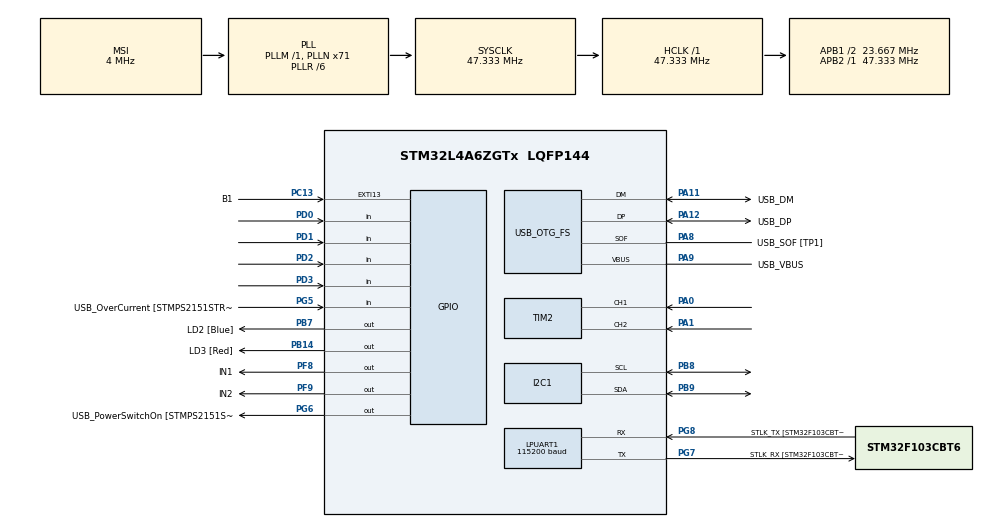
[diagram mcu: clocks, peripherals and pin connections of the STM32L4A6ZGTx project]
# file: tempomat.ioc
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I2C1.Timing=0x00805B85
LPUART1.AutoBaudRateEnableParam=UART_ADVFEATURE_AUTOBAUDRATE_DISABLE
LPUART1.BaudRate=115200
LPUART1.DMADisableonRxErrorParam=UART_ADVFEATURE_DMA_ENABLEONRXERROR
LPUART1.DataInvertParam=UART_ADVFEATURE_DATAINV_DISABLE
LPUART1.MSBFirstParam=UART_ADVFEATURE_MSBFIRST_DISABLE
LPUART1.Mode=UART_MODE_TX_RX
LPUART1.OneBitSampling=UART_ONE_BIT_SAMPLE_DISABLE
LPUART1.OverrunDisableParam=UART_ADVFEATURE_OVERRUN_ENABLE
LPUART1.Parity=UART_PARITY_NONE
LPUART1.RxPinLevelInvertParam=UART_ADVFEATURE_RXINV_DISABLE
LPUART1.StopBits=UART_STOPBITS_1
LPUART1.SwapParam=UART_ADVFEATURE_SWAP_DISABLE
LPUART1.TxPinLevelInvertParam=UART_ADVFEATURE_TXINV_DISABLE
LPUART1.WordLength=UART_WORDLENGTH_8B
Mcu.Family=STM32L4
Mcu.Name=STM32L4A6ZGTx
Mcu.Package=LQFP144
NVIC.LPUART1_IRQn=true\:0\:0\:false\:false\:true\:true\:true\:true
NVIC.PriorityGroup=NVIC_PRIORITYGROUP_4
NVIC.TIM6_DAC_IRQn=true\:0\:0\:false\:false\:true\:true\:true\:true
PA0.Signal=S_TIM2_CH1
PA1.Signal=S_TIM2_CH2
PA10.GPIO_Label=USB_ID
PA10.Signal=USB_OTG_FS_ID
PA11.GPIO_Label=USB_DM
PA11.Mode=Device_Only
PA11.Signal=USB_OTG_FS_DM
PA12.GPIO_Label=USB_DP
PA12.Mode=Device_Only
PA12.Signal=USB_OTG_FS_DP
PA13\ (JTMS/SWDIO).GPIO_Label=TMS
PA13\ (JTMS/SWDIO).Mode=Trace_Asynchronous_SW
PA13\ (JTMS/SWDIO).Signal=SYS_JTMS-SWDIO
PA14\ (JTCK/SWCLK).GPIO_Label=TCK
PA14\ (JTCK/SWCLK).Mode=Trace_Asynchronous_SW
PA14\ (JTCK/SWCLK).Signal=SYS_JTCK-SWCLK
PA8.GPIO_Label=USB_SOF [TP1]
PA8.Mode=Activate_SOF_FS
PA8.Signal=USB_OTG_FS_SOF
PA9.GPIO_Label=USB_VBUS
PA9.Mode=Activate_VBUS
PA9.Signal=USB_OTG_FS_VBUS
PB14.GPIO_Label=LD3 [Red]
PB14.Signal=GPIO_Output
PB3\ (JTDO/TRACESWO).GPIO_Label=SWO
PB3\ (JTDO/TRACESWO).Mode=Trace_Asynchronous_SW
PB3\ (JTDO/TRACESWO).Signal=SYS_JTDO-SWO
PB7.GPIO_Label=LD2 [Blue]
PB7.Signal=GPIO_Output
PB8.Mode=I2C
PB8.Signal=I2C1_SCL
PB9.Mode=I2C
PB9.Signal=I2C1_SDA
PC13.GPIO_Label=B1
PC13.Signal=GPXTI13
PC14-OSC32_IN\ (PC14).Mode=LSE-External-Oscillator
PC14-OSC32_IN\ (PC14).Signal=RCC_OSC32_IN
PC15-OSC32_OUT\ (PC15).Mode=LSE-External-Oscillator
PC15-OSC32_OUT\ (PC15).Signal=RCC_OSC32_OUT
PD0.GPIO_PuPd=GPIO_PULLDOWN
PD0.Signal=GPIO_Input
PD1.GPIO_PuPd=GPIO_PULLDOWN
PD1.Signal=GPIO_Input
PD2.GPIO_PuPd=GPIO_PULLDOWN
PD2.Signal=GPIO_Input
PD3.GPIO_PuPd=GPIO_PULLDOWN
PD3.Signal=GPIO_Input
PF6.Signal=S_TIM5_CH1
PF7.Signal=S_TIM5_CH2
PF8.GPIO_Label=IN1
PF8.Signal=GPIO_Output
PF9.GPIO_Label=IN2
PF9.Signal=GPIO_Output
PG5.GPIO_Label=USB_OverCurrent [STMPS2151STR_FAULT]
PG5.Signal=GPIO_Input
PG6.GPIO_Label=USB_PowerSwitchOn [STMPS2151STR_EN]
PG6.Signal=GPIO_Output
PG7.GPIO_Label=STLK_RX [STM32F103CBT6_PA3]
PG7.Mode=Asynchronous
PG7.Signal=LPUART1_TX
PG8.GPIO_Label=STLK_TX [STM32F103CBT6_PA2]
PG8.Mode=Asynchronous
PG8.Signal=LPUART1_RX
PH1-OSC_OUT\ (PH1).Signal=RCC_OSC_OUT
ProjectManager.HeapSize=0x200
ProjectManager.StackSize=0x400
ProjectManager.TargetToolchain=STM32CubeIDE
RCC.ADCFreq_Value=48000000
RCC.AHBFreq_Value=47333333.333333336
RCC.APB1CLKDivider=RCC_HCLK_DIV2
RCC.APB1Freq_Value=23666666.666666668
RCC.APB1TimFreq_Value=47333333.333333336
RCC.APB2Freq_Value=47333333.333333336
RCC.APB2TimFreq_Value=47333333.333333336
RCC.CortexFreq_Value=47333333.333333336
RCC.FLatency=FLASH_LATENCY_2
RCC.HCLKFreq_Value=47333333.333333336
RCC.HSE_VALUE=8000000
RCC.HSI48_VALUE=48000000
RCC.HSI_VALUE=16000000
RCC.MSI_VALUE=4000000
RCC.PLLN=71
RCC.PLLR=RCC_PLLR_DIV6
RCC.PLLSAI1N=24
RCC.SYSCLKFreq_VALUE=47333333.333333336
RCC.SYSCLKSource=RCC_SYSCLKSOURCE_PLLCLK
RCC.USBFreq_Value=48000000
RCC.VCOOutputFreq_Value=284000000
SH.S_TIM2_CH1.0=TIM2_CH1,Encoder_Interface
SH.S_TIM2_CH2.0=TIM2_CH2,Encoder_Interface
SH.S_TIM5_CH1.0=TIM5_CH1
SH.S_TIM5_CH2.0=TIM5_CH2
TIM5.Period=2399
TIM5.Prescaler=0
TIM6.Period=19999
TIM6.Prescaler=47
USB_OTG_FS.Sof_enable=ENABLE
USB_OTG_FS.VirtualMode=Device_Only
USB_OTG_FS.battery_charging_enable=ENABLE
USB_OTG_FS.low_power_enable=DISABLE
USB_OTG_FS.lpm_enable=DISABLE
USB_OTG_FS.use_dedicated_ep1=DISABLE
USB_OTG_FS.vbus_sensing_enable=ENABLE
VP_TIM5_VS_ClockSourceINT.Mode=Internal
VP_TIM6_VS_ClockSourceINT.Mode=Enable_Timer
board=NUCLEO-L4A6ZG

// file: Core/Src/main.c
/* USER CODE BEGIN Header */
/**
  ******************************************************************************
  * @file           : main.c
  * @brief          : Main program body
  ******************************************************************************
  * @attention
  *
  * Copyright (c) 2026 STMicroelectronics.
  * All rights reserved.
  *
  * This software is licensed under terms that can be found in the LICENSE file
  * in the root directory of this software component.
  * If no LICENSE file comes with this software, it is provided AS-IS.
  *
  ******************************************************************************
  */
/* USER CODE END Header */
#include "main.h"

/* USER CODE BEGIN Includes */
#include <math.h>
#include <stdio.h>
#include <string.h>
#include <stdlib.h>
#include "i2c-lcd.h"
/* USER CODE END Includes */

/* USER CODE BEGIN PD */
#define ENCODER_RESOLUTION 48.0f
#define SAMPLE_TIME 0.020f
#define V_SUPPLY 12.00f
#define PWM_PERIOD 2399.0f
#define M_PI 3.1415926535f
/* USER CODE END PD */

I2C_HandleTypeDef hi2c1;

UART_HandleTypeDef hlpuart1;

TIM_HandleTypeDef htim2;
TIM_HandleTypeDef htim5;
TIM_HandleTypeDef htim6;

PCD_HandleTypeDef hpcd_USB_OTG_FS;

/* USER CODE BEGIN PV */
int impulsy = 0;
int licznik = 0;
float predk; // current velocity in rad/s
float set_velocity = 5.0f; // Target velocity in rad/s
float filtered_velocity = 0.0f;
float velocity_error = 0.0f;
float kp = 3.13f, ki = 8.01f, kd = 0.001f; // PID constants (Units: V/(rad/s), V/rad, V/(rad/s^2))
float pid_output = 0.0f; // in Volts
float prev_velocity = 0.0f;
int32_t last_counter = 0;
float Integral_error = 0;
char uart_tx_buf[100];
char uart_rx_buf[20];
uint8_t rx_char;
uint8_t rx_idx = 0;
uint8_t telemetry_flag = 0;
uint8_t lcd_flag = 0;
uint8_t control_mode = 0; // 0 = Velocity PID, 1 = Manual Voltage
float manual_voltage = 0.0f;
uint32_t pwm_val;
/* USER CODE END PV */

void SystemClock_Config(void);
static void MX_GPIO_Init(void);
static void MX_LPUART1_UART_Init(void);
static void MX_USB_OTG_FS_PCD_Init(void);
static void MX_TIM2_Init(void);
static void MX_TIM5_Init(void);
static void MX_TIM6_Init(void);
static void MX_I2C1_Init(void);

int main(void)
{

  /* MCU Configuration--------------------------------------------------------*/

  /* Reset of all peripherals, Initializes the Flash interface and the Systick. */
  HAL_Init();

  /* Configure the system clock */
  SystemClock_Config();

  /* Initialize all configured peripherals */
  MX_GPIO_Init();
  MX_LPUART1_UART_Init();
  MX_USB_OTG_FS_PCD_Init();
  MX_TIM2_Init();
  MX_TIM5_Init();
  MX_TIM6_Init();
  MX_I2C1_Init();
  /* USER CODE BEGIN 2 */
  HAL_TIM_Encoder_Start(&htim2, TIM_CHANNEL_ALL);
  HAL_TIM_Base_Start_IT(&htim6);
  HAL_TIM_PWM_Start(&htim5, TIM_CHANNEL_2);
  HAL_UART_Receive_IT(&hlpuart1, &rx_char, 1);
  lcd_init ();
  lcd_send_string ("Inicjalizacja");
  HAL_Delay(100);
  lcd_put_cur(1, 0);
  lcd_send_string("Start");
  HAL_Delay(2000);
  /* USER CODE END 2 */

  /* Infinite loop */
  while (1)
  {

    /* USER CODE BEGIN 3 */
    if (telemetry_flag)
    {
    	int len;
      telemetry_flag = 0;
      if (velocity_error<0)
    	  len = sprintf(uart_tx_buf, "V: % .2f rad/s, E: % .2f rad/s, Out: % .2fV\r\n",
                               predk, velocity_error, pid_output);
      else
    	  len = sprintf(uart_tx_buf, "V: %.2f rad/s, E: +%.2f rad/s, Out: % .2fV\r\n",
    	                                 predk, velocity_error, pid_output);

      HAL_UART_Transmit(&hlpuart1, (uint8_t*)uart_tx_buf, len, 100);
    }

    if (lcd_flag)
    {
      lcd_flag = 0;
      char lcd_buf[17];

      lcd_put_cur(0, 0);
      sprintf(lcd_buf, "V:%.2f rad/s  ", predk);
      lcd_send_string(lcd_buf);

      lcd_put_cur(1, 0);
      sprintf(lcd_buf, "E:%.2f rad/s  ", velocity_error);
      lcd_send_string(lcd_buf);
    }
  }
  /* USER CODE END 3 */
}

void SystemClock_Config(void)
{
  RCC_OscInitTypeDef RCC_OscInitStruct = {0};
  RCC_ClkInitTypeDef RCC_ClkInitStruct = {0};

  /** Configure the main internal regulator output voltage
  */
  if (HAL_PWREx_ControlVoltageScaling(PWR_REGULATOR_VOLTAGE_SCALE1) != HAL_OK)
  {
    Error_Handler();
  }

  /** Configure LSE Drive Capability
  */
  HAL_PWR_EnableBkUpAccess();
  __HAL_RCC_LSEDRIVE_CONFIG(RCC_LSEDRIVE_LOW);

  /** Initializes the RCC Oscillators according to the specified parameters
  * in the RCC_OscInitTypeDef structure.
  */
  RCC_OscInitStruct.OscillatorType = RCC_OSCILLATORTYPE_LSE|RCC_OSCILLATORTYPE_MSI;
  RCC_OscInitStruct.LSEState = RCC_LSE_ON;
  RCC_OscInitStruct.MSIState = RCC_MSI_ON;
  RCC_OscInitStruct.MSICalibrationValue = 0;
  RCC_OscInitStruct.MSIClockRange = RCC_MSIRANGE_6;
  RCC_OscInitStruct.PLL.PLLState = RCC_PLL_ON;
  RCC_OscInitStruct.PLL.PLLSource = RCC_PLLSOURCE_MSI;
  RCC_OscInitStruct.PLL.PLLM = 1;
  RCC_OscInitStruct.PLL.PLLN = 71;
  RCC_OscInitStruct.PLL.PLLP = RCC_PLLP_DIV2;
  RCC_OscInitStruct.PLL.PLLQ = RCC_PLLQ_DIV2;
  RCC_OscInitStruct.PLL.PLLR = RCC_PLLR_DIV6;
  if (HAL_RCC_OscConfig(&RCC_OscInitStruct) != HAL_OK)
  {
    Error_Handler();
  }

  /** Initializes the CPU, AHB and APB buses clocks
  */
  RCC_ClkInitStruct.ClockType = RCC_CLOCKTYPE_HCLK|RCC_CLOCKTYPE_SYSCLK
                              |RCC_CLOCKTYPE_PCLK1|RCC_CLOCKTYPE_PCLK2;
  RCC_ClkInitStruct.SYSCLKSource = RCC_SYSCLKSOURCE_PLLCLK;
  RCC_ClkInitStruct.AHBCLKDivider = RCC_SYSCLK_DIV1;
  RCC_ClkInitStruct.APB1CLKDivider = RCC_HCLK_DIV2;
  RCC_ClkInitStruct.APB2CLKDivider = RCC_HCLK_DIV1;

  if (HAL_RCC_ClockConfig(&RCC_ClkInitStruct, FLASH_LATENCY_2) != HAL_OK)
  {
    Error_Handler();
  }

  /** Enable MSI Auto calibration
  */
  HAL_RCCEx_EnableMSIPLLMode();
}

static void MX_I2C1_Init(void)
{

  hi2c1.Instance = I2C1;
  hi2c1.Init.Timing = 0x00805B85;
  hi2c1.Init.OwnAddress1 = 0;
  hi2c1.Init.AddressingMode = I2C_ADDRESSINGMODE_7BIT;
  hi2c1.Init.DualAddressMode = I2C_DUALADDRESS_DISABLE;
  hi2c1.Init.OwnAddress2 = 0;
  hi2c1.Init.OwnAddress2Masks = I2C_OA2_NOMASK;
  hi2c1.Init.GeneralCallMode = I2C_GENERALCALL_DISABLE;
  hi2c1.Init.NoStretchMode = I2C_NOSTRETCH_DISABLE;
  if (HAL_I2C_Init(&hi2c1) != HAL_OK)
  {
    Error_Handler();
  }

  /** Configure Analogue filter
  */
  if (HAL_I2CEx_ConfigAnalogFilter(&hi2c1, I2C_ANALOGFILTER_ENABLE) != HAL_OK)
  {
    Error_Handler();
  }

  /** Configure Digital filter
  */
  if (HAL_I2CEx_ConfigDigitalFilter(&hi2c1, 0) != HAL_OK)
  {
    Error_Handler();
  }

}

static void MX_LPUART1_UART_Init(void)
{

  hlpuart1.Instance = LPUART1;
  hlpuart1.Init.BaudRate = 115200;
  hlpuart1.Init.WordLength = UART_WORDLENGTH_8B;
  hlpuart1.Init.StopBits = UART_STOPBITS_1;
  hlpuart1.Init.Parity = UART_PARITY_NONE;
  hlpuart1.Init.Mode = UART_MODE_TX_RX;
  hlpuart1.Init.HwFlowCtl = UART_HWCONTROL_NONE;
  hlpuart1.Init.OneBitSampling = UART_ONE_BIT_SAMPLE_DISABLE;
  hlpuart1.AdvancedInit.AdvFeatureInit = UART_ADVFEATURE_NO_INIT;
  if (HAL_UART_Init(&hlpuart1) != HAL_OK)
  {
    Error_Handler();
  }

}

static void MX_TIM2_Init(void)
{

  TIM_Encoder_InitTypeDef sConfig = {0};
  TIM_MasterConfigTypeDef sMasterConfig = {0};

  htim2.Instance = TIM2;
  htim2.Init.Prescaler = 0;
  htim2.Init.CounterMode = TIM_COUNTERMODE_UP;
  htim2.Init.Period = 4294967295;
  htim2.Init.ClockDivision = TIM_CLOCKDIVISION_DIV1;
  htim2.Init.AutoReloadPreload = TIM_AUTORELOAD_PRELOAD_DISABLE;
  sConfig.EncoderMode = TIM_ENCODERMODE_TI1;
  sConfig.IC1Polarity = TIM_ICPOLARITY_RISING;
  sConfig.IC1Selection = TIM_ICSELECTION_DIRECTTI;
  sConfig.IC1Prescaler = TIM_ICPSC_DIV1;
  sConfig.IC1Filter = 0;
  sConfig.IC2Polarity = TIM_ICPOLARITY_RISING;
  sConfig.IC2Selection = TIM_ICSELECTION_DIRECTTI;
  sConfig.IC2Prescaler = TIM_ICPSC_DIV1;
  sConfig.IC2Filter = 0;
  if (HAL_TIM_Encoder_Init(&htim2, &sConfig) != HAL_OK)
  {
    Error_Handler();
  }
  sMasterConfig.MasterOutputTrigger = TIM_TRGO_RESET;
  sMasterConfig.MasterSlaveMode = TIM_MASTERSLAVEMODE_DISABLE;
  if (HAL_TIMEx_MasterConfigSynchronization(&htim2, &sMasterConfig) != HAL_OK)
  {
    Error_Handler();
  }

}

static void MX_TIM5_Init(void)
{

  /* USER CODE BEGIN TIM5_Init 0 */
  TIM_OC_InitTypeDef sConfigOC = {0};
  /* USER CODE END TIM5_Init 0 */

  TIM_ClockConfigTypeDef sClockSourceConfig = {0};
  TIM_MasterConfigTypeDef sMasterConfig = {0};

  htim5.Instance = TIM5;
  htim5.Init.Prescaler = 0;
  htim5.Init.CounterMode = TIM_COUNTERMODE_UP;
  htim5.Init.Period = 2399;
  htim5.Init.ClockDivision = TIM_CLOCKDIVISION_DIV1;
  htim5.Init.AutoReloadPreload = TIM_AUTORELOAD_PRELOAD_DISABLE;
  if (HAL_TIM_Base_Init(&htim5) != HAL_OK)
  {
    Error_Handler();
  }
  sClockSourceConfig.ClockSource = TIM_CLOCKSOURCE_INTERNAL;
  if (HAL_TIM_ConfigClockSource(&htim5, &sClockSourceConfig) != HAL_OK)
  {
    Error_Handler();
  }
  sMasterConfig.MasterOutputTrigger = TIM_TRGO_RESET;
  sMasterConfig.MasterSlaveMode = TIM_MASTERSLAVEMODE_DISABLE;
  if (HAL_TIMEx_MasterConfigSynchronization(&htim5, &sMasterConfig) != HAL_OK)
  {
    Error_Handler();
  }
  /* USER CODE BEGIN TIM5_Init 2 */
  if (HAL_TIM_PWM_Init(&htim5) != HAL_OK)
  {
    Error_Handler();
  }
  sConfigOC.OCMode = TIM_OCMODE_PWM1;
  sConfigOC.Pulse = 0;
  sConfigOC.OCPolarity = TIM_OCPOLARITY_HIGH;
  sConfigOC.OCFastMode = TIM_OCFAST_DISABLE;
  if (HAL_TIM_PWM_ConfigChannel(&htim5, &sConfigOC, TIM_CHANNEL_2) != HAL_OK)
  {
    Error_Handler();
  }
  if (HAL_TIM_PWM_ConfigChannel(&htim5, &sConfigOC, TIM_CHANNEL_2) != HAL_OK)
  {
    Error_Handler();
  }
  /* USER CODE END TIM5_Init 2 */

}

static void MX_TIM6_Init(void)
{

  TIM_MasterConfigTypeDef sMasterConfig = {0};

  htim6.Instance = TIM6;
  htim6.Init.Prescaler = 47;
  htim6.Init.CounterMode = TIM_COUNTERMODE_UP;
  htim6.Init.Period = 19999;
  htim6.Init.AutoReloadPreload = TIM_AUTORELOAD_PRELOAD_DISABLE;
  if (HAL_TIM_Base_Init(&htim6) != HAL_OK)
  {
    Error_Handler();
  }
  sMasterConfig.MasterOutputTrigger = TIM_TRGO_RESET;
  sMasterConfig.MasterSlaveMode = TIM_MASTERSLAVEMODE_DISABLE;
  if (HAL_TIMEx_MasterConfigSynchronization(&htim6, &sMasterConfig) != HAL_OK)
  {
    Error_Handler();
  }
  /* USER CODE BEGIN TIM6_Init 2 */
  HAL_NVIC_SetPriority(TIM6_DAC_IRQn, 0, 0);
  HAL_NVIC_EnableIRQ(TIM6_DAC_IRQn);
  /* USER CODE END TIM6_Init 2 */

}

static void MX_USB_OTG_FS_PCD_Init(void)
{

  hpcd_USB_OTG_FS.Instance = USB_OTG_FS;
  hpcd_USB_OTG_FS.Init.dev_endpoints = 6;
  hpcd_USB_OTG_FS.Init.speed = PCD_SPEED_FULL;
  hpcd_USB_OTG_FS.Init.phy_itface = PCD_PHY_EMBEDDED;
  hpcd_USB_OTG_FS.Init.Sof_enable = ENABLE;
  hpcd_USB_OTG_FS.Init.low_power_enable = DISABLE;
  hpcd_USB_OTG_FS.Init.lpm_enable = DISABLE;
  hpcd_USB_OTG_FS.Init.battery_charging_enable = ENABLE;
  hpcd_USB_OTG_FS.Init.use_dedicated_ep1 = DISABLE;
  hpcd_USB_OTG_FS.Init.vbus_sensing_enable = ENABLE;
  if (HAL_PCD_Init(&hpcd_USB_OTG_FS) != HAL_OK)
  {
    Error_Handler();
  }

}

static void MX_GPIO_Init(void)
{
  GPIO_InitTypeDef GPIO_InitStruct = {0};

  /* GPIO Ports Clock Enable */
  __HAL_RCC_GPIOC_CLK_ENABLE();
  __HAL_RCC_GPIOF_CLK_ENABLE();
  __HAL_RCC_GPIOH_CLK_ENABLE();
  __HAL_RCC_GPIOA_CLK_ENABLE();
  __HAL_RCC_GPIOB_CLK_ENABLE();
  __HAL_RCC_GPIOG_CLK_ENABLE();
  HAL_PWREx_EnableVddIO2();
  __HAL_RCC_GPIOD_CLK_ENABLE();

  /*Configure GPIO pin Output Level */
  HAL_GPIO_WritePin(GPIOF, IN1_Pin|IN2_Pin, GPIO_PIN_RESET);

  /*Configure GPIO pin Output Level */
  HAL_GPIO_WritePin(GPIOB, LD3_Pin|LD2_Pin, GPIO_PIN_RESET);

  /*Configure GPIO pin Output Level */
  HAL_GPIO_WritePin(USB_PowerSwitchOn_GPIO_Port, USB_PowerSwitchOn_Pin, GPIO_PIN_RESET);

  /*Configure GPIO pin : B1_Pin */
  GPIO_InitStruct.Pin = B1_Pin;
  GPIO_InitStruct.Mode = GPIO_MODE_IT_RISING;
  GPIO_InitStruct.Pull = GPIO_NOPULL;
  HAL_GPIO_Init(B1_GPIO_Port, &GPIO_InitStruct);

  /*Configure GPIO pins : IN1_Pin IN2_Pin */
  GPIO_InitStruct.Pin = IN1_Pin|IN2_Pin;
  GPIO_InitStruct.Mode = GPIO_MODE_OUTPUT_PP;
  GPIO_InitStruct.Pull = GPIO_NOPULL;
  GPIO_InitStruct.Speed = GPIO_SPEED_FREQ_LOW;
  HAL_GPIO_Init(GPIOF, &GPIO_InitStruct);

  /*Configure GPIO pins : LD3_Pin LD2_Pin */
  GPIO_InitStruct.Pin = LD3_Pin|LD2_Pin;
  GPIO_InitStruct.Mode = GPIO_MODE_OUTPUT_PP;
  GPIO_InitStruct.Pull = GPIO_NOPULL;
  GPIO_InitStruct.Speed = GPIO_SPEED_FREQ_LOW;
  HAL_GPIO_Init(GPIOB, &GPIO_InitStruct);

  /*Configure GPIO pin : USB_OverCurrent_Pin */
  GPIO_InitStruct.Pin = USB_OverCurrent_Pin;
  GPIO_InitStruct.Mode = GPIO_MODE_INPUT;
  GPIO_InitStruct.Pull = GPIO_NOPULL;
  HAL_GPIO_Init(USB_OverCurrent_GPIO_Port, &GPIO_InitStruct);

  /*Configure GPIO pin : USB_PowerSwitchOn_Pin */
  GPIO_InitStruct.Pin = USB_PowerSwitchOn_Pin;
  GPIO_InitStruct.Mode = GPIO_MODE_OUTPUT_PP;
  GPIO_InitStruct.Pull = GPIO_NOPULL;
  GPIO_InitStruct.Speed = GPIO_SPEED_FREQ_LOW;
  HAL_GPIO_Init(USB_PowerSwitchOn_GPIO_Port, &GPIO_InitStruct);

  /*Configure GPIO pins : PD0 PD1 PD2 PD3 */
  GPIO_InitStruct.Pin = GPIO_PIN_0|GPIO_PIN_1|GPIO_PIN_2|GPIO_PIN_3;
  GPIO_InitStruct.Mode = GPIO_MODE_INPUT;
  GPIO_InitStruct.Pull = GPIO_PULLDOWN;
  HAL_GPIO_Init(GPIOD, &GPIO_InitStruct);

  /* USER CODE BEGIN MX_GPIO_Init_2 */
  /* Configure GPIO pins : PF8 PF9 for H-Bridge IN1/IN2 */
  GPIO_InitStruct.Pin = GPIO_PIN_8|GPIO_PIN_9;
  GPIO_InitStruct.Mode = GPIO_MODE_OUTPUT_PP;
  GPIO_InitStruct.Pull = GPIO_NOPULL;
  GPIO_InitStruct.Speed = GPIO_SPEED_FREQ_LOW;
  HAL_GPIO_Init(GPIOF, &GPIO_InitStruct);
  /* USER CODE END MX_GPIO_Init_2 */
}

/* USER CODE BEGIN 4 */

void Handle_YK04(void)
{
  static uint32_t last_tick = 0;
  if (HAL_GetTick() - last_tick < 200) return; // Debounce / repeat rate

  if (HAL_GPIO_ReadPin(GPIOD, GPIO_PIN_2) == GPIO_PIN_SET) // Button A: Faster
  {
    set_velocity += 10.0f;
    control_mode = 0;
    last_tick = HAL_GetTick();
  }
  if (HAL_GPIO_ReadPin(GPIOD, GPIO_PIN_0) == GPIO_PIN_SET) // Button B: Slower
  {
    set_velocity -= 10.0f;
    control_mode = 0;
    last_tick = HAL_GetTick();
  }
  if (HAL_GPIO_ReadPin(GPIOD, GPIO_PIN_3) == GPIO_PIN_SET) // Button C: Stop
  {
    set_velocity = 0;
    Integral_error = 0;
    control_mode = 0;
    last_tick = HAL_GetTick();
  }
  if (HAL_GPIO_ReadPin(GPIOD, GPIO_PIN_1) == GPIO_PIN_SET) // Button D: Preset
  {
    set_velocity = 100.0f;
    control_mode = 0;
    last_tick = HAL_GetTick();
  }
}

void HAL_TIM_PeriodElapsedCallback(TIM_HandleTypeDef *htim)
{
  if (htim->Instance == TIM6)
  {
    Handle_YK04();
    int32_t current_counter = (int32_t)__HAL_TIM_GET_COUNTER(&htim2);
    int32_t diff = current_counter - last_counter;
    last_counter = current_counter;

    // Calculate velocity in rad/s
    float raw_velocity = ((float)diff * 2.0f * M_PI) / (ENCODER_RESOLUTION * SAMPLE_TIME);
    impulsy = current_counter;
    licznik++;

    // Low pass filter
    float alpha = 0.3f;
    filtered_velocity = alpha * raw_velocity + (1.0f - alpha) * filtered_velocity;
    predk = filtered_velocity;

    static float filtered_velocity_2 = 0.0f;
    filtered_velocity_2 = alpha * filtered_velocity + (1.0f - alpha) * filtered_velocity_2;
    predk = filtered_velocity_2;
    filtered_velocity = filtered_velocity_2;

    velocity_error = set_velocity - filtered_velocity;
    Integral_error += velocity_error * SAMPLE_TIME;
    if (Integral_error > 30) Integral_error = 30;
    if (Integral_error < -30) Integral_error = -30;
    static float inertia_deriv = 0.0f;
    float raw_deriv = (filtered_velocity - prev_velocity) / SAMPLE_TIME;
    float inertia_alpha = 0.5f;
    inertia_deriv = inertia_alpha *  inertia_deriv + (1.0f - inertia_alpha) * raw_deriv;
    prev_velocity = filtered_velocity;

    if (control_mode == 0)
    {
       pid_output = (kp * velocity_error) + (ki * Integral_error) - (kd * inertia_deriv);
    }
    else
    {
       pid_output = manual_voltage;
    }

    // Voltage Saturation
    if (pid_output >= V_SUPPLY) pid_output = V_SUPPLY;
    if (pid_output <= -V_SUPPLY) pid_output = -V_SUPPLY;

    // Convert Volts to PWM duty cycle
    float abs_pid_output = (pid_output > 0) ? pid_output : -pid_output;
    pwm_val = (uint32_t)((abs_pid_output / V_SUPPLY) * PWM_PERIOD);

    // Output to H-Bridge: Enable (PWM) + 2 Direction Pins (GPIO)
    if (pid_output >= 0)
    {
      HAL_GPIO_WritePin(GPIOF, GPIO_PIN_8, GPIO_PIN_SET);   // IN1
      HAL_GPIO_WritePin(GPIOF, GPIO_PIN_9, GPIO_PIN_RESET); // IN2
    }
    else
    {
      HAL_GPIO_WritePin(GPIOF, GPIO_PIN_8, GPIO_PIN_RESET); // IN1
      HAL_GPIO_WritePin(GPIOF, GPIO_PIN_9, GPIO_PIN_SET);   // IN2
    }
    __HAL_TIM_SET_COMPARE(&htim5, TIM_CHANNEL_2, pwm_val);

    // Set flag for telemetry (every tick = 20ms)
    telemetry_flag = 1;

    // Set flag for LCD (every 200ms = every 10th tick)
    static uint8_t lcd_count = 0;
    if (++lcd_count >= 10)
    {
      lcd_count = 0;
      lcd_flag = 1;
    }
  }
}

void HAL_UART_RxCpltCallback(UART_HandleTypeDef *huart)
{
  if (huart->Instance == LPUART1)
  {
    if (rx_char == '\r' || rx_char == '\n')
    {
      uart_rx_buf[rx_idx] = '\0';
      if (rx_idx > 0)
      {
        if (uart_rx_buf[0] == 'U' || uart_rx_buf[0] == 'u')
        {
          manual_voltage = atof(&uart_rx_buf[1]);
          control_mode = 1;
        }
        else if (uart_rx_buf[0] == 'V' || uart_rx_buf[0] == 'v')
        {
          set_velocity = atof(&uart_rx_buf[1]);
          control_mode = 0;
        }
        else
        {
          set_velocity = atof(uart_rx_buf);
          control_mode = 0;
        }
      }
      rx_idx = 0;
    }
    else if (rx_idx < sizeof(uart_rx_buf) - 1)
    {
      uart_rx_buf[rx_idx++] = rx_char;
    }
    HAL_UART_Receive_IT(&hlpuart1, &rx_char, 1);
  }
}

/* USER CODE END 4 */

void Error_Handler(void)
{
  __disable_irq();
  while (1)
  {
  }
}
